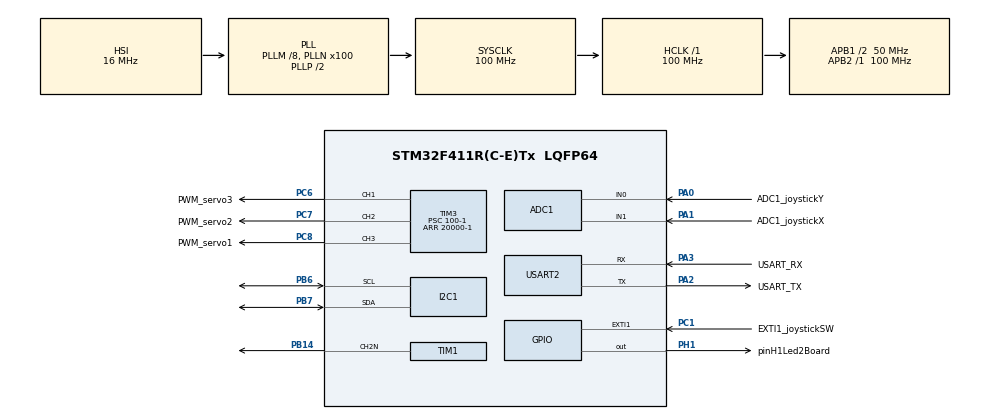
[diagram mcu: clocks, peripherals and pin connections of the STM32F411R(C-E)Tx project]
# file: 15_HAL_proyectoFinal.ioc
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ADC1.Channel-0\#ChannelRegularConversion=ADC_CHANNEL_0
ADC1.Channel-1\#ChannelRegularConversion=ADC_CHANNEL_1
ADC1.ExternalTrigConv=ADC_EXTERNALTRIGCONV_T2_TRGO
ADC1.NbrOfConversion=2
ADC1.NbrOfConversionFlag=1
ADC1.Rank-0\#ChannelRegularConversion=1
ADC1.Rank-1\#ChannelRegularConversion=2
ADC1.SamplingTime-0\#ChannelRegularConversion=ADC_SAMPLETIME_3CYCLES
ADC1.SamplingTime-1\#ChannelRegularConversion=ADC_SAMPLETIME_3CYCLES
ADC1.master=1
Dma.Request0=USART2_RX
Dma.Request1=USART2_TX
Dma.USART2_RX.0.Direction=DMA_PERIPH_TO_MEMORY
Dma.USART2_RX.0.FIFOMode=DMA_FIFOMODE_DISABLE
Dma.USART2_RX.0.Instance=DMA1_Stream5
Dma.USART2_RX.0.MemDataAlignment=DMA_MDATAALIGN_BYTE
Dma.USART2_RX.0.MemInc=DMA_MINC_ENABLE
Dma.USART2_RX.0.Mode=DMA_NORMAL
Dma.USART2_RX.0.PeriphDataAlignment=DMA_PDATAALIGN_BYTE
Dma.USART2_RX.0.PeriphInc=DMA_PINC_DISABLE
Dma.USART2_RX.0.Priority=DMA_PRIORITY_VERY_HIGH
Dma.USART2_TX.1.Direction=DMA_MEMORY_TO_PERIPH
Dma.USART2_TX.1.FIFOMode=DMA_FIFOMODE_DISABLE
Dma.USART2_TX.1.Instance=DMA1_Stream6
Dma.USART2_TX.1.MemDataAlignment=DMA_MDATAALIGN_BYTE
Dma.USART2_TX.1.MemInc=DMA_MINC_ENABLE
Dma.USART2_TX.1.Mode=DMA_NORMAL
Dma.USART2_TX.1.PeriphDataAlignment=DMA_PDATAALIGN_BYTE
Dma.USART2_TX.1.PeriphInc=DMA_PINC_DISABLE
Dma.USART2_TX.1.Priority=DMA_PRIORITY_VERY_HIGH
Mcu.Family=STM32F4
Mcu.Name=STM32F411R(C-E)Tx
Mcu.Package=LQFP64
NVIC.DMA1_Stream5_IRQn=true\:0\:0\:false\:false\:true\:false\:true\:true
NVIC.DMA1_Stream6_IRQn=true\:0\:0\:false\:false\:true\:false\:true\:true
NVIC.I2C1_EV_IRQn=true\:0\:0\:false\:false\:true\:true\:true\:true
NVIC.PriorityGroup=NVIC_PRIORITYGROUP_0
NVIC.TIM3_IRQn=true\:0\:0\:false\:false\:true\:true\:true\:true
NVIC.TIM4_IRQn=true\:0\:0\:false\:false\:true\:true\:true\:true
NVIC.USART2_IRQn=true\:0\:0\:false\:false\:true\:true\:true\:true
PA0-WKUP.GPIO_Label=ADC1_joystickY
PA0-WKUP.Signal=ADCx_IN0
PA1.GPIO_Label=ADC1_joystickX
PA1.Signal=ADCx_IN1
PA13.GPIO_Label=TMS
PA13.Mode=Serial_Wire
PA13.Signal=SYS_JTMS-SWDIO
PA14.GPIO_Label=TCK
PA14.Mode=Serial_Wire
PA14.Signal=SYS_JTCK-SWCLK
PA2.GPIO_Label=USART_TX
PA2.Mode=Asynchronous
PA2.Signal=USART2_TX
PA3.GPIO_Label=USART_RX
PA3.Mode=Asynchronous
PA3.Signal=USART2_RX
PB14.Mode=PWM Generation2 CH2N
PB14.Signal=TIM1_CH2N
PB3.Signal=SYS_JTDO-SWO
PB6.Mode=I2C
PB6.Signal=I2C1_SCL
PB7.Mode=I2C
PB7.Signal=I2C1_SDA
PB9.Signal=I2C2_SDA
PC1.GPIO_Label=EXTI1_joystickSW
PC1.Signal=GPXTI1
PC14-OSC32_IN.Signal=RCC_OSC32_IN
PC15-OSC32_OUT.Signal=RCC_OSC32_OUT
PC6.GPIO_Label=PWM_servo3
PC6.Signal=S_TIM3_CH1
PC7.GPIO_Label=PWM_servo2
PC7.Signal=S_TIM3_CH2
PC8.GPIO_Label=PWM_servo1
PC8.GPIO_ModeDefaultPP=GPIO_MODE_AF_PP
PC8.GPIO_Speed=GPIO_SPEED_FREQ_HIGH
PC8.Signal=S_TIM3_CH3
PH0\ -\ OSC_IN.Signal=RCC_OSC_IN
PH1\ -\ OSC_OUT.GPIO_Label=pinH1Led2Board
PH1\ -\ OSC_OUT.GPIO_ModeDefaultOutputPP=GPIO_MODE_OUTPUT_PP
PH1\ -\ OSC_OUT.Signal=GPIO_Output
ProjectManager.HeapSize=0x200
ProjectManager.StackSize=0x400
ProjectManager.TargetToolchain=STM32CubeIDE
RCC.48MHZClocksFreq_Value=50000000
RCC.AHBFreq_Value=100000000
RCC.APB1CLKDivider=RCC_HCLK_DIV2
RCC.APB1Freq_Value=50000000
RCC.APB1TimFreq_Value=100000000
RCC.APB2Freq_Value=100000000
RCC.APB2TimFreq_Value=100000000
RCC.CortexFreq_Value=100000000
RCC.FLatency-AdvancedSettings=FLASH_LATENCY_3
RCC.HCLKFreq_Value=100000000
RCC.HSE_VALUE=8000000
RCC.HSI_VALUE=16000000
RCC.LSE_VALUE=32768
RCC.PLLM=8
RCC.PLLN=100
RCC.SYSCLKFreq_VALUE=100000000
RCC.SYSCLKSource=RCC_SYSCLKSOURCE_PLLCLK
RCC.VCOOutputFreq_Value=200000000
SH.ADCx_IN0.0=ADC1_IN0,IN0
SH.ADCx_IN1.0=ADC1_IN1,IN1
SH.S_TIM3_CH1.0=TIM3_CH1,PWM Generation1 CH1
SH.S_TIM3_CH2.0=TIM3_CH2,PWM Generation2 CH2
SH.S_TIM3_CH3.0=TIM3_CH3,PWM Generation3 CH3
TIM1.Channel-PWM\ Generation2\ CH2N=TIM_CHANNEL_2
TIM1.Period=200-1
TIM1.Prescaler=20000-1
TIM1.Pulse-PWM\ Generation2\ CH2N=40000
TIM1.TIM_MasterOutputTrigger=TIM_TRGO_UPDATE
TIM2.AutoReloadPreload=TIM_AUTORELOAD_PRELOAD_ENABLE
TIM2.Period=1000-1
TIM2.Prescaler=25-1
TIM2.TIM_MasterOutputTrigger=TIM_TRGO_UPDATE
TIM3.AutoReloadPreload=TIM_AUTORELOAD_PRELOAD_ENABLE
TIM3.Channel-PWM\ Generation1\ CH1=TIM_CHANNEL_1
TIM3.Channel-PWM\ Generation2\ CH2=TIM_CHANNEL_2
TIM3.Channel-PWM\ Generation3\ CH3=TIM_CHANNEL_3
TIM3.OCMode_PWM-PWM\ Generation3\ CH3=TIM_OCMODE_PWM1
TIM3.Period=20000-1
TIM3.Prescaler=100-1
TIM3.Pulse-PWM\ Generation1\ CH1=0
TIM3.Pulse-PWM\ Generation2\ CH2=0
TIM3.Pulse-PWM\ Generation3\ CH3=0
TIM3.TIM_MasterOutputTrigger=TIM_TRGO_UPDATE
TIM4.Period=1000-1
TIM4.Prescaler=50000-1
USART2.VirtualMode=VM_ASYNC
VP_TIM2_VS_ClockSourceINT.Mode=Internal
VP_TIM3_VS_ClockSourceINT.Mode=Internal
VP_TIM4_VS_ClockSourceINT.Mode=Internal
board=NUCLEO-F411RE

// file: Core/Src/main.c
/* USER CODE BEGIN Header */
/**
  ******************************************************************************
  * @file           : main.c
  * @brief          : Main program body
  ******************************************************************************
  * @attention
  *
  * Copyright (c) 2025 STMicroelectronics.
  * All rights reserved.
  *
  * This software is licensed under terms that can be found in the LICENSE file
  * in the root directory of this software component.
  * If no LICENSE file comes with this software, it is provided AS-IS.
  *
  ******************************************************************************
  */
/* USER CODE END Header */
#include "main.h"

/* USER CODE BEGIN Includes */
#include <math.h>  // Necesario para funciones trigonométricas
#include "maquina_estados_hal.h"
#include "arm_math.h"
#include "arm_const_structs.h"
#include <stdio.h>
#include <string.h>
#include <stdlib.h>
#include <stdbool.h>
/* USER CODE END Includes */

/* USER CODE BEGIN PTD */
typedef struct {
    I2C_HandleTypeDef* i2c_handle;
    uint8_t             i2c_addr;
    uint8_t             backlight;
} DisplayDevice_t;
/* USER CODE END PTD */

/* USER CODE BEGIN PD */
#define UART_RX_BUF_SIZE 64
#define BUFFER_SIZE 128  // Tamaño de cada buffer (ajustar según necesidades)

// Parámetros geométricos ajustados
//#define ARM_LENGTH    9.5f   // Longitud del brazo del servo en cm
#define TRIANGLE_SIDE 17.0f   // Lado del triángulo equilátero en cm
#define ARM_LENGTH    9.5f   // Longitud del brazo del servo en cm
#define SIDE_AC       17.0f  // Lado AC en cm
#define SIDE_BC       17.0f  // Lado BC en cm
#define BASE_AB       19.0f  // Base AB en cm
// --- Direcciones I2C ---
#define LCD_I2C_ADDR            (0x23 << 1) // Cambiar a la dirección de tu LCD
//=============================================================================
#pragma region /// Driver para Pantalla LCD (integrado) ///
//=============================================================================
//#define SIDE_BASE     19.0f   // Base diferente (BC)
/* USER CODE END PD */

ADC_HandleTypeDef hadc1;

I2C_HandleTypeDef hi2c1;

TIM_HandleTypeDef htim1;
TIM_HandleTypeDef htim2;
TIM_HandleTypeDef htim3;
TIM_HandleTypeDef htim4;

UART_HandleTypeDef huart2;
DMA_HandleTypeDef hdma_usart2_rx;
DMA_HandleTypeDef hdma_usart2_tx;

/* USER CODE BEGIN PV */
uint16_t x_values[BUFFER_SIZE];
uint16_t y_values[BUFFER_SIZE];
uint16_t offset = 0;

uint8_t contadorDigito_XX = 0;
uint8_t contadorDigito_YY = 0;
volatile uint16_t display_value_XX = 0;  // Valor a mostrar en el display XX (0-100)
volatile uint16_t display_value_YY = 0;  // Valor a mostrar en el display YY (0-100)

// Flags de estado
volatile uint8_t data_ready = 0;
volatile uint8_t ping_active = 1;  // 1=Ping activo, 0=Pong activo
volatile uint8_t half_transfer_flag = 0;
volatile uint8_t full_transfer_flag = 0;
// Control de buffers
volatile enum {
    BUFFER_PING_FIRST_HALF,
    BUFFER_PING_SECOND_HALF,
    BUFFER_PONG_FIRST_HALF,
    BUFFER_PONG_SECOND_HALF
} current_buffer_section = BUFFER_PING_FIRST_HALF;

// Buffers Ping-Pong para X e Y (intercalados)
volatile uint16_t adc_buffer_ping[2 * BUFFER_SIZE];  // [X0, Y0, X1, Y1, ...]
volatile uint16_t adc_buffer_pong[2 * BUFFER_SIZE];  // [X0, Y0, X1, Y1, ...]

volatile uint8_t uart_tx_busy = 0; // Nueva bandera para estado TX
uint8_t command_buffer[UART_RX_BUF_SIZE];  // Nuevo búfer para copia segura
uint8_t main_rx_buffer[UART_RX_BUF_SIZE]; // Búfer para construir el comando
uint8_t dma_rx_byte;                      // Búfer de 1 byte para que el DMA escriba
volatile uint8_t uart_rx_flag = 0;
volatile uint8_t uart_rx_index = 0;

fsm_states_t stateMachine = {0};
DisplayDevice_t main_display;

/* USER CODE END PV */

void SystemClock_Config(void);
static void MX_GPIO_Init(void);
static void MX_DMA_Init(void);
static void MX_USART2_UART_Init(void);
static void MX_TIM2_Init(void);
static void MX_TIM3_Init(void);
static void MX_TIM4_Init(void);
static void MX_I2C1_Init(void);
static void MX_TIM1_Init(void);
static void MX_ADC1_Init(void);
/* USER CODE BEGIN PFP */
void actualizar_display_estado(e_PosibleStates estado_actual);
void HAL_UART_TxCpltCallback(UART_HandleTypeDef *huart) ;
void ProcessUARTCommand(char* command);
void comandoHelp(void);
void clean_command(char* cmd);
// --- Prototipos para el driver del LCD ---
void display_init(DisplayDevice_t* display, I2C_HandleTypeDef* i2c, uint8_t addr);
void display_clear(DisplayDevice_t* display);
void display_set_cursor(DisplayDevice_t* display, uint8_t row, uint8_t col);
void display_write_string(DisplayDevice_t* display, const char* str);
void refresh_display_data(void);

e_PosibleStates state_machine_action(uint8_t event);
void cartesianToServoAngles(float x, float y, uint16_t angles[3]);
/* USER CODE END PFP */

/* USER CODE BEGIN 0 */
// Funciones de bajo nivel para el LCD
static void display_send_nibble(DisplayDevice_t* display, uint8_t nibble, uint8_t is_data) {
    uint8_t i2c_data = (nibble << 4) | (is_data ? 0x01 : 0x00) | display->backlight;
    HAL_I2C_Master_Transmit(display->i2c_handle, display->i2c_addr, &i2c_data, 1, 10);
    i2c_data |= 0x04; // EN = 1
    HAL_I2C_Master_Transmit(display->i2c_handle, display->i2c_addr, &i2c_data, 1, 10);
    i2c_data &= ~0x04; // EN = 0
    HAL_I2C_Master_Transmit(display->i2c_handle, display->i2c_addr, &i2c_data, 1, 10);
}

static void display_send_byte(DisplayDevice_t* display, uint8_t byte, uint8_t is_data) {
    display_send_nibble(display, byte >> 4, is_data);
    display_send_nibble(display, byte & 0x0F, is_data);
}
/* USER CODE END 0 */

int main(void)
{

  /* MCU Configuration--------------------------------------------------------*/

  /* Reset of all peripherals, Initializes the Flash interface and the Systick. */
  HAL_Init();

  /* Configure the system clock */
  SystemClock_Config();

  /* Initialize all configured peripherals */
  MX_GPIO_Init();
  MX_DMA_Init();
  MX_USART2_UART_Init();
  MX_TIM2_Init();
  MX_TIM3_Init();
  MX_TIM4_Init();
  MX_I2C1_Init();
  MX_TIM1_Init();
  MX_ADC1_Init();
  /* USER CODE BEGIN 2 */
  HAL_ADC_Start_DMA(&hadc1, (uint32_t*)adc_buffer_ping, 2 * BUFFER_SIZE);
  HAL_UART_Receive_DMA(&huart2, &dma_rx_byte, 1);
  HAL_TIM_Base_Start(&htim2);				// muestreo ADC
  HAL_TIM_Base_Start_IT(&htim4);
  // iniciar los 3 canales PWM
  HAL_TIM_PWM_Start(&htim3, TIM_CHANNEL_1);  // PC6
  HAL_TIM_PWM_Start(&htim3, TIM_CHANNEL_2);  // PC7
  HAL_TIM_PWM_Start(&htim3, TIM_CHANNEL_3);  // PC8

  display_init(&main_display, &hi2c1, LCD_I2C_ADDR);
  // mensaje de bienvenida
  display_set_cursor(&main_display, 0, 2);
  display_write_string(&main_display, "Proyecto Final");
  display_set_cursor(&main_display, 1, 3);
  display_write_string(&main_display, "robot 3RRR");
  HAL_Delay(2000);
  display_clear(&main_display);

  // variable para guardar el estado anterior y detectar cambios
   e_PosibleStates estado_previo = -1; // Valor inicial que no coincide con ningún estado
   // actualizar la pantalla con el estado inicial
   actualizar_display_estado(stateMachine.state);
   estado_previo = stateMachine.state;

  /* USER CODE END 2 */

  /* Infinite loop */
  /* USER CODE BEGIN WHILE */
//  const float circle_radius = 3.0f;  // Radio del círculo en cm
//  const uint16_t points = 100;       // Puntos para aproximar el círculo
//  const uint16_t delay = 20;         // Tiempo entre puntos (ms)

  while (1)
  {
	  state_machine_action(0);
	     // Comprobar si el estado ha cambiado
	      if (stateMachine.state != estado_previo) {
	          // Si estamos SALIENDO del estado JOYSTICK
	          if (estado_previo == JOYSTICK) {
	              // Reiniciamos el modo DMA para la adquisición de datos original
	              HAL_ADC_Start_DMA(&hadc1, (uint32_t*)adc_buffer_ping, 2 * BUFFER_SIZE);
	          }
	          // Si estamos ENTRANDO al estado JOYSTICK
			   if (stateMachine.state == JOYSTICK) {
				   // Detenemos el modo DMA para tomar control manual
				   HAL_ADC_Stop_DMA(&hadc1);
			   }
	          // Si cambió, actualizar la pantalla
	          actualizar_display_estado(stateMachine.state);
	          // Guardar el nuevo estado como el previo para la siguiente iteración
	          estado_previo = stateMachine.state;
	      }
    /* USER CODE END WHILE */

  }
}

void SystemClock_Config(void)
{
  RCC_OscInitTypeDef RCC_OscInitStruct = {0};
  RCC_ClkInitTypeDef RCC_ClkInitStruct = {0};

  /** Configure the main internal regulator output voltage
  */
  __HAL_RCC_PWR_CLK_ENABLE();
  __HAL_PWR_VOLTAGESCALING_CONFIG(PWR_REGULATOR_VOLTAGE_SCALE1);

  /** Initializes the RCC Oscillators according to the specified parameters
  * in the RCC_OscInitTypeDef structure.
  */
  RCC_OscInitStruct.OscillatorType = RCC_OSCILLATORTYPE_HSI;
  RCC_OscInitStruct.HSIState = RCC_HSI_ON;
  RCC_OscInitStruct.HSICalibrationValue = RCC_HSICALIBRATION_DEFAULT;
  RCC_OscInitStruct.PLL.PLLState = RCC_PLL_ON;
  RCC_OscInitStruct.PLL.PLLSource = RCC_PLLSOURCE_HSI;
  RCC_OscInitStruct.PLL.PLLM = 8;
  RCC_OscInitStruct.PLL.PLLN = 100;
  RCC_OscInitStruct.PLL.PLLP = RCC_PLLP_DIV2;
  RCC_OscInitStruct.PLL.PLLQ = 4;
  if (HAL_RCC_OscConfig(&RCC_OscInitStruct) != HAL_OK)
  {
    Error_Handler();
  }

  /** Initializes the CPU, AHB and APB buses clocks
  */
  RCC_ClkInitStruct.ClockType = RCC_CLOCKTYPE_HCLK|RCC_CLOCKTYPE_SYSCLK
                              |RCC_CLOCKTYPE_PCLK1|RCC_CLOCKTYPE_PCLK2;
  RCC_ClkInitStruct.SYSCLKSource = RCC_SYSCLKSOURCE_PLLCLK;
  RCC_ClkInitStruct.AHBCLKDivider = RCC_SYSCLK_DIV1;
  RCC_ClkInitStruct.APB1CLKDivider = RCC_HCLK_DIV2;
  RCC_ClkInitStruct.APB2CLKDivider = RCC_HCLK_DIV1;

  if (HAL_RCC_ClockConfig(&RCC_ClkInitStruct, FLASH_LATENCY_3) != HAL_OK)
  {
    Error_Handler();
  }
}

static void MX_ADC1_Init(void)
{

  ADC_ChannelConfTypeDef sConfig = {0};

  /** Configure the global features of the ADC (Clock, Resolution, Data Alignment and number of conversion)
  */
  hadc1.Instance = ADC1;
  hadc1.Init.ClockPrescaler = ADC_CLOCK_SYNC_PCLK_DIV4;
  hadc1.Init.Resolution = ADC_RESOLUTION_12B;
  hadc1.Init.ScanConvMode = DISABLE;
  hadc1.Init.ContinuousConvMode = DISABLE;
  hadc1.Init.DiscontinuousConvMode = DISABLE;
  hadc1.Init.ExternalTrigConvEdge = ADC_EXTERNALTRIGCONVEDGE_RISING;
  hadc1.Init.ExternalTrigConv = ADC_EXTERNALTRIGCONV_T3_TRGO;
  hadc1.Init.DataAlign = ADC_DATAALIGN_RIGHT;
  hadc1.Init.NbrOfConversion = 1;
  hadc1.Init.DMAContinuousRequests = DISABLE;
  hadc1.Init.EOCSelection = ADC_EOC_SINGLE_CONV;
  if (HAL_ADC_Init(&hadc1) != HAL_OK)
  {
    Error_Handler();
  }

  /** Configure for the selected ADC regular channel its corresponding rank in the sequencer and its sample time.
  */
  sConfig.Channel = ADC_CHANNEL_0;
  sConfig.Rank = 1;
  sConfig.SamplingTime = ADC_SAMPLETIME_3CYCLES;
  if (HAL_ADC_ConfigChannel(&hadc1, &sConfig) != HAL_OK)
  {
    Error_Handler();
  }

}

static void MX_I2C1_Init(void)
{

  hi2c1.Instance = I2C1;
  hi2c1.Init.ClockSpeed = 100000;
  hi2c1.Init.DutyCycle = I2C_DUTYCYCLE_2;
  hi2c1.Init.OwnAddress1 = 0;
  hi2c1.Init.AddressingMode = I2C_ADDRESSINGMODE_7BIT;
  hi2c1.Init.DualAddressMode = I2C_DUALADDRESS_DISABLE;
  hi2c1.Init.OwnAddress2 = 0;
  hi2c1.Init.GeneralCallMode = I2C_GENERALCALL_DISABLE;
  hi2c1.Init.NoStretchMode = I2C_NOSTRETCH_DISABLE;
  if (HAL_I2C_Init(&hi2c1) != HAL_OK)
  {
    Error_Handler();
  }

}

static void MX_TIM1_Init(void)
{

  TIM_MasterConfigTypeDef sMasterConfig = {0};
  TIM_OC_InitTypeDef sConfigOC = {0};
  TIM_BreakDeadTimeConfigTypeDef sBreakDeadTimeConfig = {0};

  htim1.Instance = TIM1;
  htim1.Init.Prescaler = 20000-1;
  htim1.Init.CounterMode = TIM_COUNTERMODE_UP;
  htim1.Init.Period = 200-1;
  htim1.Init.ClockDivision = TIM_CLOCKDIVISION_DIV1;
  htim1.Init.RepetitionCounter = 0;
  htim1.Init.AutoReloadPreload = TIM_AUTORELOAD_PRELOAD_DISABLE;
  if (HAL_TIM_PWM_Init(&htim1) != HAL_OK)
  {
    Error_Handler();
  }
  sMasterConfig.MasterOutputTrigger = TIM_TRGO_UPDATE;
  sMasterConfig.MasterSlaveMode = TIM_MASTERSLAVEMODE_DISABLE;
  if (HAL_TIMEx_MasterConfigSynchronization(&htim1, &sMasterConfig) != HAL_OK)
  {
    Error_Handler();
  }
  sConfigOC.OCMode = TIM_OCMODE_PWM1;
  sConfigOC.Pulse = 40000;
  sConfigOC.OCPolarity = TIM_OCPOLARITY_HIGH;
  sConfigOC.OCNPolarity = TIM_OCNPOLARITY_HIGH;
  sConfigOC.OCFastMode = TIM_OCFAST_DISABLE;
  sConfigOC.OCIdleState = TIM_OCIDLESTATE_RESET;
  sConfigOC.OCNIdleState = TIM_OCNIDLESTATE_RESET;
  if (HAL_TIM_PWM_ConfigChannel(&htim1, &sConfigOC, TIM_CHANNEL_2) != HAL_OK)
  {
    Error_Handler();
  }
  sBreakDeadTimeConfig.OffStateRunMode = TIM_OSSR_DISABLE;
  sBreakDeadTimeConfig.OffStateIDLEMode = TIM_OSSI_DISABLE;
  sBreakDeadTimeConfig.LockLevel = TIM_LOCKLEVEL_OFF;
  sBreakDeadTimeConfig.DeadTime = 0;
  sBreakDeadTimeConfig.BreakState = TIM_BREAK_DISABLE;
  sBreakDeadTimeConfig.BreakPolarity = TIM_BREAKPOLARITY_HIGH;
  sBreakDeadTimeConfig.AutomaticOutput = TIM_AUTOMATICOUTPUT_DISABLE;
  if (HAL_TIMEx_ConfigBreakDeadTime(&htim1, &sBreakDeadTimeConfig) != HAL_OK)
  {
    Error_Handler();
  }
  HAL_TIM_MspPostInit(&htim1);

}

static void MX_TIM2_Init(void)
{

  TIM_ClockConfigTypeDef sClockSourceConfig = {0};
  TIM_MasterConfigTypeDef sMasterConfig = {0};

  htim2.Instance = TIM2;
  htim2.Init.Prescaler = 25-1;
  htim2.Init.CounterMode = TIM_COUNTERMODE_UP;
  htim2.Init.Period = 1000-1;
  htim2.Init.ClockDivision = TIM_CLOCKDIVISION_DIV1;
  htim2.Init.AutoReloadPreload = TIM_AUTORELOAD_PRELOAD_ENABLE;
  if (HAL_TIM_Base_Init(&htim2) != HAL_OK)
  {
    Error_Handler();
  }
  sClockSourceConfig.ClockSource = TIM_CLOCKSOURCE_INTERNAL;
  if (HAL_TIM_ConfigClockSource(&htim2, &sClockSourceConfig) != HAL_OK)
  {
    Error_Handler();
  }
  sMasterConfig.MasterOutputTrigger = TIM_TRGO_UPDATE;
  sMasterConfig.MasterSlaveMode = TIM_MASTERSLAVEMODE_DISABLE;
  if (HAL_TIMEx_MasterConfigSynchronization(&htim2, &sMasterConfig) != HAL_OK)
  {
    Error_Handler();
  }

}

static void MX_TIM3_Init(void)
{

  TIM_ClockConfigTypeDef sClockSourceConfig = {0};
  TIM_MasterConfigTypeDef sMasterConfig = {0};
  TIM_OC_InitTypeDef sConfigOC = {0};

  htim3.Instance = TIM3;
  htim3.Init.Prescaler = 100-1;
  htim3.Init.CounterMode = TIM_COUNTERMODE_UP;
  htim3.Init.Period = 20000-1;
  htim3.Init.ClockDivision = TIM_CLOCKDIVISION_DIV1;
  htim3.Init.AutoReloadPreload = TIM_AUTORELOAD_PRELOAD_ENABLE;
  if (HAL_TIM_Base_Init(&htim3) != HAL_OK)
  {
    Error_Handler();
  }
  sClockSourceConfig.ClockSource = TIM_CLOCKSOURCE_INTERNAL;
  if (HAL_TIM_ConfigClockSource(&htim3, &sClockSourceConfig) != HAL_OK)
  {
    Error_Handler();
  }
  if (HAL_TIM_PWM_Init(&htim3) != HAL_OK)
  {
    Error_Handler();
  }
  sMasterConfig.MasterOutputTrigger = TIM_TRGO_UPDATE;
  sMasterConfig.MasterSlaveMode = TIM_MASTERSLAVEMODE_DISABLE;
  if (HAL_TIMEx_MasterConfigSynchronization(&htim3, &sMasterConfig) != HAL_OK)
  {
    Error_Handler();
  }
  sConfigOC.OCMode = TIM_OCMODE_PWM1;
  sConfigOC.Pulse = 0;
  sConfigOC.OCPolarity = TIM_OCPOLARITY_HIGH;
  sConfigOC.OCFastMode = TIM_OCFAST_DISABLE;
  if (HAL_TIM_PWM_ConfigChannel(&htim3, &sConfigOC, TIM_CHANNEL_1) != HAL_OK)
  {
    Error_Handler();
  }
  if (HAL_TIM_PWM_ConfigChannel(&htim3, &sConfigOC, TIM_CHANNEL_2) != HAL_OK)
  {
    Error_Handler();
  }
  if (HAL_TIM_PWM_ConfigChannel(&htim3, &sConfigOC, TIM_CHANNEL_3) != HAL_OK)
  {
    Error_Handler();
  }
  HAL_TIM_MspPostInit(&htim3);

}

static void MX_TIM4_Init(void)
{

  TIM_ClockConfigTypeDef sClockSourceConfig = {0};
  TIM_MasterConfigTypeDef sMasterConfig = {0};

  htim4.Instance = TIM4;
  htim4.Init.Prescaler = 50000-1;
  htim4.Init.CounterMode = TIM_COUNTERMODE_UP;
  htim4.Init.Period = 1000-1;
  htim4.Init.ClockDivision = TIM_CLOCKDIVISION_DIV1;
  htim4.Init.AutoReloadPreload = TIM_AUTORELOAD_PRELOAD_DISABLE;
  if (HAL_TIM_Base_Init(&htim4) != HAL_OK)
  {
    Error_Handler();
  }
  sClockSourceConfig.ClockSource = TIM_CLOCKSOURCE_INTERNAL;
  if (HAL_TIM_ConfigClockSource(&htim4, &sClockSourceConfig) != HAL_OK)
  {
    Error_Handler();
  }
  sMasterConfig.MasterOutputTrigger = TIM_TRGO_RESET;
  sMasterConfig.MasterSlaveMode = TIM_MASTERSLAVEMODE_DISABLE;
  if (HAL_TIMEx_MasterConfigSynchronization(&htim4, &sMasterConfig) != HAL_OK)
  {
    Error_Handler();
  }

}

static void MX_USART2_UART_Init(void)
{

  huart2.Instance = USART2;
  huart2.Init.BaudRate = 115200;
  huart2.Init.WordLength = UART_WORDLENGTH_8B;
  huart2.Init.StopBits = UART_STOPBITS_1;
  huart2.Init.Parity = UART_PARITY_NONE;
  huart2.Init.Mode = UART_MODE_TX_RX;
  huart2.Init.HwFlowCtl = UART_HWCONTROL_NONE;
  huart2.Init.OverSampling = UART_OVERSAMPLING_16;
  if (HAL_UART_Init(&huart2) != HAL_OK)
  {
    Error_Handler();
  }

}

static void MX_DMA_Init(void)
{

  /* DMA controller clock enable */
  __HAL_RCC_DMA1_CLK_ENABLE();

  /* DMA interrupt init */
  /* DMA1_Stream5_IRQn interrupt configuration */
  HAL_NVIC_SetPriority(DMA1_Stream5_IRQn, 0, 0);
  HAL_NVIC_EnableIRQ(DMA1_Stream5_IRQn);
  /* DMA1_Stream6_IRQn interrupt configuration */
  HAL_NVIC_SetPriority(DMA1_Stream6_IRQn, 0, 0);
  HAL_NVIC_EnableIRQ(DMA1_Stream6_IRQn);

}

static void MX_GPIO_Init(void)
{
  GPIO_InitTypeDef GPIO_InitStruct = {0};

  /* GPIO Ports Clock Enable */
  __HAL_RCC_GPIOC_CLK_ENABLE();
  __HAL_RCC_GPIOH_CLK_ENABLE();
  __HAL_RCC_GPIOA_CLK_ENABLE();
  __HAL_RCC_GPIOB_CLK_ENABLE();

  /*Configure GPIO pin Output Level */
  HAL_GPIO_WritePin(pinH1Led2Board_GPIO_Port, pinH1Led2Board_Pin, GPIO_PIN_RESET);

  /*Configure GPIO pin : pinH1Led2Board_Pin */
  GPIO_InitStruct.Pin = pinH1Led2Board_Pin;
  GPIO_InitStruct.Mode = GPIO_MODE_OUTPUT_PP;
  GPIO_InitStruct.Pull = GPIO_NOPULL;
  GPIO_InitStruct.Speed = GPIO_SPEED_FREQ_LOW;
  HAL_GPIO_Init(pinH1Led2Board_GPIO_Port, &GPIO_InitStruct);

  /*Configure GPIO pin : EXTI1_joystickSW_Pin */
  GPIO_InitStruct.Pin = EXTI1_joystickSW_Pin;
  GPIO_InitStruct.Mode = GPIO_MODE_IT_RISING;
  GPIO_InitStruct.Pull = GPIO_NOPULL;
  HAL_GPIO_Init(EXTI1_joystickSW_GPIO_Port, &GPIO_InitStruct);

  /*Configure GPIO pin : PB9 */
  GPIO_InitStruct.Pin = GPIO_PIN_9;
  GPIO_InitStruct.Mode = GPIO_MODE_AF_OD;
  GPIO_InitStruct.Pull = GPIO_NOPULL;
  GPIO_InitStruct.Speed = GPIO_SPEED_FREQ_VERY_HIGH;
  GPIO_InitStruct.Alternate = GPIO_AF9_I2C2;
  HAL_GPIO_Init(GPIOB, &GPIO_InitStruct);

}

/* USER CODE BEGIN 4 */
// Funciones públicas para el LCD
void display_set_cursor(DisplayDevice_t* display, uint8_t row, uint8_t col) {
    const uint8_t row_offsets[] = {0x00, 0x40, 0x14, 0x54};
    display_send_byte(display, 0x80 | (row_offsets[row] + col), 0);
}

void display_write_string(DisplayDevice_t* display, const char* str) {
    while (*str) {
        display_send_byte(display, *str++, 1);
    }
}

void display_clear(DisplayDevice_t* display) {
    display_send_byte(display, 0x01, 0);
    HAL_Delay(2);
}

void display_init(DisplayDevice_t* display, I2C_HandleTypeDef* i2c, uint8_t addr) {
    display->i2c_handle = i2c;
    display->i2c_addr = addr;
    display->backlight = 0x08; // Backlight ON

    HAL_Delay(50);
    display_send_nibble(display, 0x03, 0); HAL_Delay(5);
    display_send_nibble(display, 0x03, 0); HAL_Delay(1);
    display_send_nibble(display, 0x03, 0); HAL_Delay(1);
    display_send_nibble(display, 0x02, 0); // Modo 4 bits

    display_send_byte(display, 0x28, 0); // 2 líneas, 5x8
    display_send_byte(display, 0x0C, 0); // Display ON, Cursor OFF
    display_send_byte(display, 0x06, 0); // Incremento de cursor
    display_clear(display);
}

/**
  * @brief Envía el mensaje de ayuda o informa si el UART está ocupado.
  */
void comandoHelp(void) {
    // Verificamos si el transmisor del UART está libre
    if (!uart_tx_busy)
    {
        const char *help_message =
            "\r\n--- MENU DE AYUDA ---\r\n"
            "Comandos disponibles:\r\n"
        	"IDLE       - Comando para pausar y estar en estado Base\r\n"
            "HELP		- Muestra esta ayuda\r\n"
            "CIRCULO	- Inicia el dibujo del circulo\r\n"
        	"CENTRAR	- Lleva el lacipero al centro de la base\r\n"
			"CORAZON    - Dibuja un corazon\r\n"
			"LINEA_AB   - Dibuja una linea paralela al eje AB\r\n"
			"LINEA_BC   - Dibuja una linea paralela al eje BC\r\n"
			"LINEA_CA   - Dibuja una linea paralela al eje CA\r\n"
			"JOYSTICK   - Activa el control manual\r\n"

            "---------------------\r\n\r\n";

        uart_tx_busy = 1;
        HAL_UART_Transmit_IT(&huart2, (uint8_t*)help_message, strlen(help_message));
    }
    else
    {
        // Si el UART está ocupado, no hacemos nada o enviamos un mensaje de error corto.
        // Ojo: esta transmisión corta también podría fallar si el UART está muy congestionado,
        // pero es improbable en este caso. La opción más segura es no hacer nada.
        // const char *busy_msg = "UART ocupado, intente de nuevo.\r\n";
        // HAL_UART_Transmit_DMA(&huart2, (uint8_t*)busy_msg, strlen(busy_msg));
    }
}

void ProcessUARTCommand(char* command)
{
    clean_command(command);  // Limpiar caracteres de nueva línea

	  // Comando para cambiar frecuencia del LED
	  if (strcmp(command, "HELP") == 0) {
	        comandoHelp();
	}
	else if (strcmp(command, "CIRCULO") == 0) {
		// Cambiar el estado de la máquina para que dibuje el círculo
		stateMachine.state = CIRCULO;
	}
	else if (strcmp(command, "IDLE") == 0) {
		// Cambiar el estado de la máquina para que dibuje el círculo
		stateMachine.state = IDLE;
	}
    else if (strcmp(command, "LINEA_AB") == 0) {
        stateMachine.state = LINEA_PARALELA_AB; // Cambiar al estado LINEA
    }
    else if (strcmp(command, "LINEA_BC") == 0) {
        stateMachine.state = LINEA_PARALELA_BC;
    }
    else if (strcmp(command, "LINEA_CA") == 0) {
        stateMachine.state = LINEA_PARALELA_CA;
    }
    else if (strcmp(command, "CENTRAR") == 0) {
        stateMachine.state = CENTRO;
    }
    else if (strcmp(command, "CORAZON") == 0) {
        stateMachine.state = CORAZON;
    }
    else if (strcmp(command, "JOYSTICK") == 0) {
	        stateMachine.state = JOYSTICK;
	    }
    else {
        if (!uart_tx_busy) {
            const char *error_msg =
			"Comando no reconocido. Enviar HELP para información\r\n"
			"¡IMPORTANTE! todo comando debe llevar ENTER al final\r\n";

            uart_tx_busy = 1;
            HAL_UART_Transmit_IT(&huart2, (uint8_t*)error_msg, strlen(error_msg));
        }
    }

}
void clean_command(char* cmd) {
    char* p = cmd;
    while (*p) {
        if (*p == '\r' || *p == '\n') {
            *p = '\0';
            break;
        }
        p++;
    }
}
/**
  * @brief Actualiza la pantalla LCD para mostrar el estado actual de la máquina.
  * @param estado_actual: El estado a mostrar en la pantalla.
  */
void actualizar_display_estado(e_PosibleStates estado_actual) {
    char lcd_buffer[20]; // Búfer para formatear el texto

    // Limpiar el búfer
    memset(lcd_buffer, 0, sizeof(lcd_buffer));

    // Seleccionar el texto basado en el estado actual
    switch (estado_actual) {
        case IDLE:
            sprintf(lcd_buffer, "ESTADO: IDLE");
            break;
        case CIRCULO:
            sprintf(lcd_buffer, "ESTADO: CIRCULO");
            break;
        case LINEA_PARALELA_AB:
            sprintf(lcd_buffer, "ESTADO: LINEA AB");
            break;
        case LINEA_PARALELA_BC:
            sprintf(lcd_buffer, "ESTADO: LINEA BC");
            break;
        case LINEA_PARALELA_CA:
            sprintf(lcd_buffer, "ESTADO: LINEA CA");
            break;
        case CENTRO:
            sprintf(lcd_buffer, "ESTADO: CENTRADO");
            break;
        case CORAZON:
            sprintf(lcd_buffer, "ESTADO: CORAZON");
            break;
        case JOYSTICK:
        	sprintf(lcd_buffer, "ESTADO: JOYSTICK");
        	break;
        default:
            sprintf(lcd_buffer, "ESTADO: ???");
            break;
    }

    // Escribir en la pantalla LCD
    display_clear(&main_display);
    display_set_cursor(&main_display, 0, 0); // Escribir en la primera fila
    display_write_string(&main_display, lcd_buffer);
}

// maquina de estados
e_PosibleStates state_machine_action(uint8_t event)
{
	switch (stateMachine.state){
	case IDLE:
	{
	    if(uart_rx_flag) {
	        // 1. Deshabilitar interrupciones brevemente
	        __disable_irq();

	        // 2. Copiar comando a búfer seguro
	        strcpy((char*)command_buffer, (char*)main_rx_buffer);
	        uart_rx_index = 0;            // Resetear índice
	        uart_rx_flag = 0;             // Bajar bandera

	        // Limpiar el búfer de recepción para el siguiente comando
	        memset(main_rx_buffer, 0, UART_RX_BUF_SIZE); // <--- AÑADE ESTA LÍNEA

	        // 3. Habilitar interrupciones
	        __enable_irq();

	        // 4. Procesar comando desde búfer seguro
	        ProcessUARTCommand((char*)command_buffer);
	    }
	    if(data_ready)
	    	   {
	    			volatile uint16_t* current_half;

	    			// Determinar qué sección procesar
	    			switch(current_buffer_section) {
	    				case BUFFER_PING_FIRST_HALF:
	    					current_half = adc_buffer_ping;
	    					break;
	    				case BUFFER_PING_SECOND_HALF:
	    					current_half = adc_buffer_ping + BUFFER_SIZE;
	    					break;
	    				case BUFFER_PONG_FIRST_HALF:
	    					current_half = adc_buffer_pong;
	    					break;
	    				case BUFFER_PONG_SECOND_HALF:
	    					current_half = adc_buffer_pong + BUFFER_SIZE;
	    					break;
	    			}

	    			// Separar ejes (2 muestras por posición)
	    			for(int i = 0; i < BUFFER_SIZE/2; i++) {
	    				x_values[i] = (current_half[2 * i]* 100 + 2047) / 4095; ; // Redondeo al entero más cercano
	    				y_values[i] = (current_half[2 * i + 1]* 100 + 2047) / 4095; ; // Redondeo al entero más cercano
	    			}
	    			//Promedio para eje X
	    			uint32_t sumaTotal_ejeX = 0;
	    			for(int i = 0; i < BUFFER_SIZE/2; i++) {
	    				sumaTotal_ejeX += x_values[i];
	    			}
	    			display_value_XX = 2*sumaTotal_ejeX / BUFFER_SIZE;  // Promedio entero

	    			//Promedio para eje Y
	    			uint32_t sumaTotal_ejeY = 0;
	    			for(int i = 0; i < BUFFER_SIZE/2; i++) {
	    				sumaTotal_ejeY += y_values[i];
	    			}
	    			display_value_YY = 2*sumaTotal_ejeY / BUFFER_SIZE;  // Promedio entero

	    			data_ready = 0;

	    			// AQUÍ PROCESAR LOS DATOS (x_values y y_values)
	    		}

	}		return stateMachine.state;
	case CIRCULO:
	{
	    // Revisa si ha llegado un nuevo comando
	    if (uart_rx_flag) {
	        __disable_irq();
	        strcpy((char*)command_buffer, (char*)main_rx_buffer);
	        uart_rx_index = 0;
	        uart_rx_flag = 0;
	        memset(main_rx_buffer, 0, UART_RX_BUF_SIZE);
	        __enable_irq();

	        // Procesa el nuevo comando para decidir si cambia de estado
	        ProcessUARTCommand((char*)command_buffer);

	    } else { // Si no hay nuevo comando, sigue dibujando el círculo
	        const float circle_radius = 3.0f;
	        const uint16_t points = 100;
	        const uint16_t delay = 20;

	        for (uint16_t i = 0; i < points; i++) {
	            // Si durante el dibujo llega un comando, interrumpe el círculo y procesa
	            if (uart_rx_flag) break;

	            float angle = 2 * M_PI * i / points;
	            float x = circle_radius * cosf(angle);
	            float y = circle_radius * sinf(angle);

	            uint16_t servo_angles[3];
	            cartesianToServoAngles(x, y, servo_angles);

	            __HAL_TIM_SET_COMPARE(&htim3, TIM_CHANNEL_1, servo_angles[0]);
	            __HAL_TIM_SET_COMPARE(&htim3, TIM_CHANNEL_2, servo_angles[1]);
	            __HAL_TIM_SET_COMPARE(&htim3, TIM_CHANNEL_3, servo_angles[2]);

	            HAL_Delay(delay);
	        }
	    }
	}return stateMachine.state;
//	case CIRCULO:
//	{
//		  const float circle_radius = 3.0f;  // Radio del círculo en cm
//		  const uint16_t points = 100;       // Puntos para aproximar el círculo
//		  const uint16_t delay = 20;         // Tiempo entre puntos (ms)
//	// dibujar círculo completo
//		  for(uint16_t i = 0; i < points; i++) {
//			  // calcular posición en el círculo (coordenadas cartesianas)
//			  float angle = 2 * M_PI * i / points;
//			  float x = circle_radius * cosf(angle);
//			  float y = circle_radius * sinf(angle);
//
//			  // calcular ángulos de los servos
//			  uint16_t servo_angles[3];
//			  cartesianToServoAngles(x, y, servo_angles);
//
//			  // enviar comandos a los servos
//			  __HAL_TIM_SET_COMPARE(&htim3, TIM_CHANNEL_1, servo_angles[0]);
//			  __HAL_TIM_SET_COMPARE(&htim3, TIM_CHANNEL_2, servo_angles[1]);
//			  __HAL_TIM_SET_COMPARE(&htim3, TIM_CHANNEL_3, servo_angles[2]);
//
//			  HAL_Delay(delay);
//		  }
//		stateMachine.state=IDLE;
//	}return stateMachine.state;
	case LINEA_PARALELA_AB:
	{
	    // Revisa si ha llegado un nuevo comando
	    if (uart_rx_flag) {
	        __disable_irq();
	        strcpy((char*)command_buffer, (char*)main_rx_buffer);
	        uart_rx_index = 0;
	        uart_rx_flag = 0;
	        memset(main_rx_buffer, 0, UART_RX_BUF_SIZE);
	        __enable_irq();

	        // Procesa el nuevo comando para decidir si cambia de estado
	        ProcessUARTCommand((char*)command_buffer);

	    }
	    else {
            // Parámetros de la línea
            const float y_constante = 2.0f; // Distancia de la línea al centro (en cm)
            const float x_inicio = -4.0f;   // Punto X inicial
            const float x_fin = 4.0f;       // Punto X final
            const uint16_t points = 100;
            const uint16_t delay = 20;

            // Bucle para dibujar la línea
            for (uint16_t i = 0; i < points; i++) {
                // Interpolar para obtener la posición X actual
                float x = x_inicio + (x_fin - x_inicio) * i / (points - 1);
                float y = y_constante; // La coordenada Y es siempre la misma

                uint16_t servo_angles[3];
                cartesianToServoAngles(x, y, servo_angles);

                __HAL_TIM_SET_COMPARE(&htim3, TIM_CHANNEL_1, servo_angles[0]);
                __HAL_TIM_SET_COMPARE(&htim3, TIM_CHANNEL_2, servo_angles[1]);
                __HAL_TIM_SET_COMPARE(&htim3, TIM_CHANNEL_3, servo_angles[2]);
                HAL_Delay(delay);
            }

	    }

	}
	return stateMachine.state;

	case LINEA_PARALELA_BC:
	{
	    // Revisa si ha llegado un nuevo comando
	    if (uart_rx_flag) {
	        __disable_irq();
	        strcpy((char*)command_buffer, (char*)main_rx_buffer);
	        uart_rx_index = 0;
	        uart_rx_flag = 0;
	        memset(main_rx_buffer, 0, UART_RX_BUF_SIZE);
	        __enable_irq();

	        // Procesa el nuevo comando para decidir si cambia de estado
	        ProcessUARTCommand((char*)command_buffer);

	    }
	    else{
		// Parámetros de la línea base (horizontal)
			const float y_offset = 2.0f;
			const float x_inicio = -4.0f, x_fin = 4.0f;
			const uint16_t points = 100, delay = 20;

			// Ángulo de rotación para alinear con BC (-60 grados)
			const float angulo_rotacion = -60.0f * M_PI / 180.0f;

			for (uint16_t i = 0; i < points; i++) {
				// 1. Generar punto en la línea horizontal base
				float x_base = x_inicio + (x_fin - x_inicio) * i / (points - 1);
				float y_base = y_offset;

				// 2. Rotar el punto
				float x_final = x_base * cosf(angulo_rotacion) - y_base * sinf(angulo_rotacion);
				float y_final = x_base * sinf(angulo_rotacion) + y_base * cosf(angulo_rotacion);

				// 3. Mover los servos
				uint16_t servo_angles[3];
				cartesianToServoAngles(x_final, y_final, servo_angles);
				__HAL_TIM_SET_COMPARE(&htim3, TIM_CHANNEL_1, servo_angles[0]);
				__HAL_TIM_SET_COMPARE(&htim3, TIM_CHANNEL_2, servo_angles[1]);
				__HAL_TIM_SET_COMPARE(&htim3, TIM_CHANNEL_3, servo_angles[2]);
				HAL_Delay(delay);
			}

	    }

	}return stateMachine.state;

	case LINEA_PARALELA_CA:
	{
	    // Revisa si ha llegado un nuevo comando
	    if (uart_rx_flag) {
	        __disable_irq();
	        strcpy((char*)command_buffer, (char*)main_rx_buffer);
	        uart_rx_index = 0;
	        uart_rx_flag = 0;
	        memset(main_rx_buffer, 0, UART_RX_BUF_SIZE);
	        __enable_irq();

	        // Procesa el nuevo comando para decidir si cambia de estado
	        ProcessUARTCommand((char*)command_buffer);

	    }
	    else{
            // Parámetros de la línea base (horizontal)
            const float y_offset = 2.0f;
            const float x_inicio = -4.0f, x_fin = 4.0f;
            const uint16_t points = 100, delay = 20;

            // Ángulo de rotación para alinear con CA (+60 grados)
            const float angulo_rotacion = 60.0f * M_PI / 180.0f;

            for (uint16_t i = 0; i < points; i++) {
                // 1. Generar punto en la línea horizontal base
                float x_base = x_inicio + (x_fin - x_inicio) * i / (points - 1);
                float y_base = y_offset;

                // 2. Rotar el punto
                float x_final = x_base * cosf(angulo_rotacion) - y_base * sinf(angulo_rotacion);
                float y_final = x_base * sinf(angulo_rotacion) + y_base * cosf(angulo_rotacion);

                // 3. Mover los servos
                uint16_t servo_angles[3];
                cartesianToServoAngles(x_final, y_final, servo_angles);
                __HAL_TIM_SET_COMPARE(&htim3, TIM_CHANNEL_1, servo_angles[0]);
                __HAL_TIM_SET_COMPARE(&htim3, TIM_CHANNEL_2, servo_angles[1]);
                __HAL_TIM_SET_COMPARE(&htim3, TIM_CHANNEL_3, servo_angles[2]);
                HAL_Delay(delay);
            }
	    }

		}return stateMachine.state;

	case CENTRO:
	{
		stateMachine.state = IDLE;

		   uint16_t servo_angles[3];

			// 1. Calcular ángulos para la posición (0,0)
			cartesianToServoAngles(0.0f, 0.0f, servo_angles);

			// 2. Mover los servos a esa posición
			__HAL_TIM_SET_COMPARE(&htim3, TIM_CHANNEL_1, servo_angles[0]);
			__HAL_TIM_SET_COMPARE(&htim3, TIM_CHANNEL_2, servo_angles[1]);
			__HAL_TIM_SET_COMPARE(&htim3, TIM_CHANNEL_3, servo_angles[2]);

	}return stateMachine.state;
	case CORAZON:
	{
	    // Revisa si ha llegado un nuevo comando
	    if (uart_rx_flag) {
	        __disable_irq();
	        strcpy((char*)command_buffer, (char*)main_rx_buffer);
	        uart_rx_index = 0;
	        uart_rx_flag = 0;
	        memset(main_rx_buffer, 0, UART_RX_BUF_SIZE);
	        __enable_irq();

	        // Procesa el nuevo comando para decidir si cambia de estado
	        ProcessUARTCommand((char*)command_buffer);

	    }
	    else{
	    	 const uint16_t points = 150; // Más puntos para una curva más suave
			const uint16_t delay = 20;
			const float escala = 0.25f; // Factor para ajustar el tamaño del corazón

			for (uint16_t i = 0; i < points; i++) {
				// El parámetro 't' va de 0 a 2*PI
				float t = 2 * M_PI * i / points;

				// Ecuaciones paramétricas para un corazón
				float x = escala * (16 * powf(sinf(t), 3));
				float y = escala * (13 * cosf(t) - 5 * cosf(2*t) - 2 * cosf(3*t) - cosf(4*t));

				// Desplazamiento para centrar el corazón verticalmente
				float y_final = y + 1.5f;

				uint16_t servo_angles[3];
				cartesianToServoAngles(x, y_final, servo_angles);

				__HAL_TIM_SET_COMPARE(&htim3, TIM_CHANNEL_1, servo_angles[0]);
				__HAL_TIM_SET_COMPARE(&htim3, TIM_CHANNEL_2, servo_angles[1]);
				__HAL_TIM_SET_COMPARE(&htim3, TIM_CHANNEL_3, servo_angles[2]);
				HAL_Delay(delay);
				}
	    }

	}return stateMachine.state;

	case JOYSTICK:
	{
	    // Revisa si ha llegado un nuevo comando
	    if (uart_rx_flag) {
	        __disable_irq();
	        strcpy((char*)command_buffer, (char*)main_rx_buffer);
	        uart_rx_index = 0;
	        uart_rx_flag = 0;
	        memset(main_rx_buffer, 0, UART_RX_BUF_SIZE);
	        __enable_irq();

	        // Procesa el nuevo comando para decidir si cambia de estado
	        ProcessUARTCommand((char*)command_buffer);

	    }
	    else{
            uint16_t adc_values[2]; // Para guardar X y Y
            float x_coord, y_coord;
            const float workspace_size = 5.0f; // Rango: -5cm a +5cm
            const int32_t deadzone = 150;      // Zona muerta del joystick

            // Realiza 2 conversiones en modo polled (una para cada canal)
            HAL_ADC_Start(&hadc1);
            for (int i = 0; i < 2; i++) {
                HAL_ADC_PollForConversion(&hadc1, 10);
                adc_values[i] = HAL_ADC_GetValue(&hadc1);
            }
            HAL_ADC_Stop(&hadc1);

            // Mapeo X: adc_values[1] (PA1)
            if (abs((int)adc_values[1] - 2048) < deadzone) x_coord = 0.0f;
            else x_coord = -workspace_size + ((float)adc_values[1] / 4095.0f) * (2 * workspace_size);

            // Mapeo Y: adc_values[0] (PA0)
            if (abs((int)adc_values[0] - 2048) < deadzone) y_coord = 0.0f;
            else y_coord = -workspace_size + ((float)adc_values[0] / 4095.0f) * (2 * workspace_size);

            // Es común tener que invertir un eje, ajusta si es necesario
            y_coord = -y_coord;

            // Mover los servos
            uint16_t servo_angles[3];
            cartesianToServoAngles(x_coord, y_coord, servo_angles);
            __HAL_TIM_SET_COMPARE(&htim3, TIM_CHANNEL_1, servo_angles[0]);
            __HAL_TIM_SET_COMPARE(&htim3, TIM_CHANNEL_2, servo_angles[1]);
            __HAL_TIM_SET_COMPARE(&htim3, TIM_CHANNEL_3, servo_angles[2]);

            HAL_Delay(10); // Pequeño delay para no saturar
	    }
	}return stateMachine.state;

	default:
		{
		stateMachine.state = IDLE;
		}return stateMachine.state;

	}
    // Retornar el estado actual al final de la función
	return stateMachine.state;

}

// Función para convertir coordenadas (x,y) a ángulos de servo
void cartesianToServoAngles(float x, float y, uint16_t angles[3]) {
    // Calcular la altura del triángulo equilátero
    const float h = TRIANGLE_SIDE * sqrtf(3) / 2;

    // Posiciones de los servos (coordenadas cartesianas)
    const float servo_pos[3][2] = {
        { 0, 2*h/3 },          // Servo 1 (vértice superior)
        { -TRIANGLE_SIDE/2, -h/3 }, // Servo 2 (vértice inferior izquierdo)
        { TRIANGLE_SIDE/2, -h/3 }   // Servo 3 (vértice inferior derecho)
    };

    for(int i = 0; i < 3; i++) {
        // Calcular vector desde el servo al punto
        float dx = x - servo_pos[i][0];
        float dy = y - servo_pos[i][1];

        // Calcular ángulo (en radianes)
        float angle = atan2f(dy, dx);

        // Convertir a pulsos PWM (500-2500 μs = 0°-180°)
        angles[i] = 500 + (uint16_t)((angle + M_PI) * (2000.0f / (2 * M_PI)));
    }
}
void HAL_TIM_PeriodElapsedCallback(TIM_HandleTypeDef *htim)
{
	if(htim->Instance == TIM4)
	{
		HAL_GPIO_TogglePin(pinH1Led2Board_GPIO_Port, pinH1Led2Board_Pin);	}

}
/**
  * @brief  Callback que se ejecuta cuando la recepción UART por DMA está completa.
  * @param  huart: puntero a la estructura UART.
  * @retval None
  */
// Modificar la callback de UART
void HAL_UART_RxCpltCallback(UART_HandleTypeDef *huart) {
    if(huart->Instance == USART2) {
        if (dma_rx_byte == '\r' || dma_rx_byte == '\n') {
            if (uart_rx_index > 0) {
                main_rx_buffer[uart_rx_index] = '\0'; // Terminar string
                uart_rx_flag = 1;                     // Levantar bandera
                uart_rx_index = 0;
            }
        }
        else if (uart_rx_index < UART_RX_BUF_SIZE - 1) {
            main_rx_buffer[uart_rx_index++] = dma_rx_byte;
        }
        HAL_UART_Receive_DMA(huart, &dma_rx_byte, 1); // Reactivar DMA
    }
}
// Callback de transmisión UART completada
void HAL_UART_TxCpltCallback(UART_HandleTypeDef *huart) {
    if (huart->Instance == USART2) {
        uart_tx_busy = 0; // Liberar el UART
    }
}

//adc
void HAL_ADC_ConvHalfCpltCallback(ADC_HandleTypeDef* hadc) {
    // Se llenó la primera mitad del buffer actual
    switch(current_buffer_section) {
        case BUFFER_PING_FIRST_HALF:
            current_buffer_section = BUFFER_PING_SECOND_HALF;
            break;
        case BUFFER_PONG_FIRST_HALF:
            current_buffer_section = BUFFER_PONG_SECOND_HALF;
            break;
        default:
            // Manejo de error
            break;
    }
    data_ready = 1;
}
void HAL_ADC_ConvCpltCallback(ADC_HandleTypeDef* hadc) {
    // Se llenó la segunda mitad del buffer actual + cambio de buffer
    switch(current_buffer_section) {
        case BUFFER_PING_SECOND_HALF:
            // Cambiar a pong y actualizar DMA
            HAL_ADC_Stop_DMA(&hadc1);
            HAL_ADC_Start_DMA(&hadc1, (uint32_t*)adc_buffer_pong, 2 * BUFFER_SIZE);
            current_buffer_section = BUFFER_PONG_FIRST_HALF;
            break;

        case BUFFER_PONG_SECOND_HALF:
            // Cambiar a ping y actualizar DMA
            HAL_ADC_Stop_DMA(&hadc1);
            HAL_ADC_Start_DMA(&hadc1, (uint32_t*)adc_buffer_ping, 2 * BUFFER_SIZE);
            current_buffer_section = BUFFER_PING_FIRST_HALF;
            break;

        default:
            // Manejo de error
            break;
    }
    data_ready = 1;
}

/* USER CODE END 4 */

void Error_Handler(void)
{
  __disable_irq();
  while (1)
  {
  }
}
